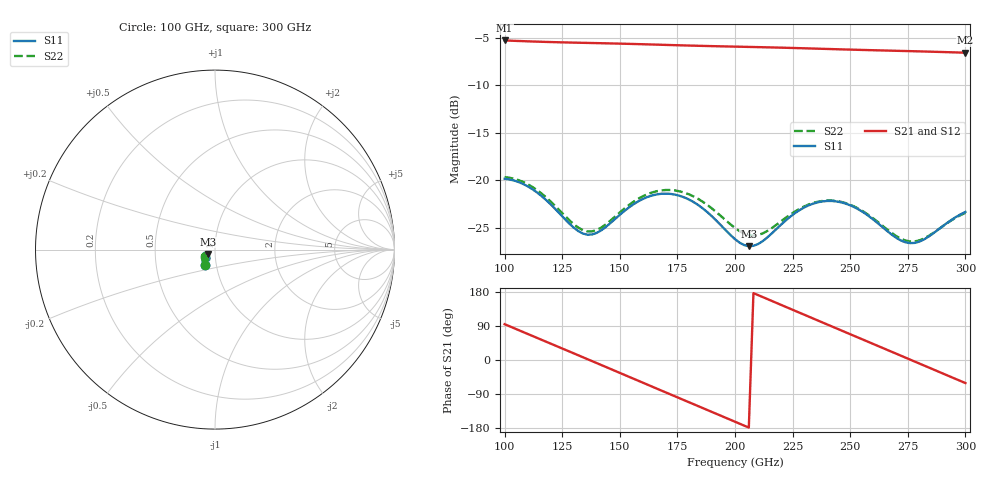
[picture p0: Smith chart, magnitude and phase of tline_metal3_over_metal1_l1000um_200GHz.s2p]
#  GHZ S DB R 50
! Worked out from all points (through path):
!   101 points, 100 GHz to 300 GHz, reference 50 ohm
!   highest |S21| = -5.27 dB at 100 GHz (marker M1); lowest = -6.6 dB at 300 GHz (marker M2)
!   group delay of S21, straight-line fit = 7.16 ps
!   lowest |S11| = -26.9 dB at 206 GHz (marker M3), VSWR 1.09, Z = 46.3 - j2.32 ohm
!   |S11| at or under -10 dB: start of sweep to end of sweep
!   |S22| runs from -26.4 to -19.7 dB; largest |S21 - S12| = 5.8e-14
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100  -19.84 -121.7  -5.27 94.5  -5.27 94.5  -19.67 -121.5
108  -20.38 -133.4  -5.34 74.0  -5.34 74.0  -20.17 -133.1
116  -21.65 -142.7  -5.41 53.4  -5.41 53.4  -21.39 -142.4
126  -24.05 -146.2  -5.47 27.8  -5.47 27.8  -23.70 -146.0
134  -25.61 -137.7  -5.52 7.3  -5.52 7.3  -25.25 -138.1
140  -25.54 -127.8  -5.55 -8.2  -5.55 -8.2  -25.24 -128.4
150  -23.64 -121.4  -5.60 -34.0  -5.60 -34.0  -23.39 -121.5
160  -21.97 -128.2  -5.66 -59.8  -5.66 -59.8  -21.68 -127.6
168  -21.42 -137.7  -5.72 -80.5  -5.72 -80.5  -21.07 -136.7
182  -22.29 -154.6  -5.82 -116.5  -5.82 -116.5  -21.70 -153.2
192  -24.27 -160.9  -5.87 -142.3  -5.87 -142.3  -23.37 -159.8
200  -26.20 -156.4  -5.92 -162.9  -5.92 -162.9  -25.02 -157.5
206  -26.94 -146.2  -5.95 -178.4  -5.95 -178.4  -25.78 -150.3
218  -25.13 -130.6  -6.01 150.6  -6.01 150.6  -24.68 -136.8
234  -22.45 -139.3  -6.12 109.3  -6.12 109.3  -22.38 -143.2
242  -22.18 -148.2  -6.18 88.7  -6.18 88.7  -22.13 -151.2
250  -22.63 -156.6  -6.23 68.1  -6.23 68.1  -22.57 -159.0
260  -24.13 -163.0  -6.30 42.3  -6.30 42.3  -24.02 -164.9
268  -25.72 -161.0  -6.34 21.7  -6.34 21.7  -25.54 -163.0
276  -26.62 -150.9  -6.39 1.1  -6.39 1.1  -26.45 -153.4
284  -25.94 -140.3  -6.44 -19.6  -6.44 -19.6  -25.87 -143.2
300  -23.34 -140.8  -6.56 -60.9  -6.56 -60.9  -23.43 -143.1
